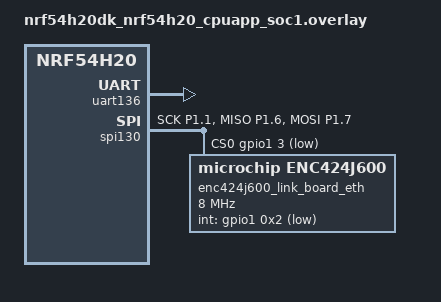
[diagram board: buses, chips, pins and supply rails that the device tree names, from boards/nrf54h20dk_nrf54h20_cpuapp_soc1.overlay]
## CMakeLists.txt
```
#
# Copyright (c) 2023 Nordic Semiconductor ASA
#
# SPDX-License-Identifier: LicenseRef-Nordic-5-Clause
#

cmake_minimum_required(VERSION 3.20.0)

if (BACKBONE_WIFI)
	set(EXTRA_CONF_FILE "configuration/nrf7002eb.conf")
	set(EXTRA_DTC_OVERLAY_FILE "configuration/nrf7002eb.overlay")
endif()

find_package(Zephyr REQUIRED HINTS $ENV{ZEPHYR_BASE})
project(thread_border_router)

set(OPENTHREAD_DIR ${PROJECT_SOURCE_DIR}/../../../modules/lib/openthread)

target_include_directories(app PRIVATE
	src
	${ZEPHYR_BASE}/subsys/net/ip
	${OPENTHREAD_DIR}/src/core
)

# These configurations are required in order to inject our own implementation of
# OpenThread's API function `otIp6Send()`
zephyr_ld_options("-Wl,--wrap=otIp6Send")
set (CMAKE_CXX_FLAGS
	"-DOPENTHREAD_PROJECT_CORE_CONFIG_FILE=\\\"openthread-core-zephyr-config.h\\\""
	${CMAKE_CXX_FLAGS})

add_subdirectory(src/net)

target_sources(app PRIVATE
	src/border_agent.c
	src/main.c
	src/tbr.c
	src/shell.c
	src/api_extensions/ip6_ext.cpp
	src/backbone/mcast_routing.c
	src/backbone/backbone_agent.c
	src/backbone/nd_proxy.c
	src/platform/infra_if.c
	src/platform/udp.c
	src/utils/utils.c
)
```

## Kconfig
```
#
# Copyright (c) 2023 Nordic Semiconductor
#
# SPDX-License-Identifier: LicenseRef-Nordic-5-Clause
#

DT_COMPAT_NORDIC_NRF700X_SPI := nordic,nrf700x-spi

menuconfig NRF_TBR
    bool "nRF Thread Border Router"
    imply NEWLIB_LIBC_NANO
    imply ENTROPY_GENERATOR
    imply NETWORKING
    imply NET_IPV6
    imply NET_IPV4
    imply NET_UDP
    imply NET_TCP
    imply NET_IPV6_NBR_CACHE
    imply NET_IPV6_DAD
    imply NET_ROUTING
    imply NET_DHCPV4
    imply NET_DHCPV6
    imply NET_SOCKETS
    imply NET_IPV6_MLD
    imply NET_IPV6_ND
    imply NET_IPV6_NBR_CACHE
    imply DNS_SD
    imply NET_IPV4_IGMP
    imply NET_PKT_FILTER # This should be removed after next upmerge
    imply NET_PKT_FILTER_IPV6_HOOK # This should be removed after next upmerge

menu "nRF Thread Border Router"

if NRF_TBR

config NRF_TBR_MDNS_PUBLISHER_RECORDS
    int "mDNS records"
    default 8
    help
      Number of mDNS records that can be allocated in runtime

config NRF_TBR_NRF_TBR_MDNS_PUBLISHER_MAX_TXT_LEN
    int "Max TXT record length"
    default 256
    help
      Maximum length of TXT record

config NRF_TBR_PRODUCT_NAME
    string "Product"
    default "tbr"
    help
      Defines the name of a product advertised by Thread Border Agent

config NRF_TBR_VENDOR_NAME
    string "Vendor"
    default "nordicsemi"
    help
      Defines the name of a vendor advertised by Thread Border Agent

config NRF_TBR_NAT64_PREFIX_DISCOVERY
    bool "Enable NAT64 prefix discovery"
    depends on OPENTHREAD_BORDER_ROUTER && OPENTHREAD_NAT64_BORDER_ROUTING
    help
      Enable NAT64 prefix discovery for nRF TBR

config NRF_TBR_MAX_UDP_DGRAM_SIZE
    int "UDP datagrams size limit"
    default 1280
    help
      Maximum size of UDP datagrams that can be sent using OpenThread's API

config NRF_TBR_ND_PROXY_ENTRY_COUNT
    int "ND Proxy table entries"
    default 8
    help
      Maximum number of addresses that can be handled by ND Proxy module

config NRF_TBR_MAX_BORDER_AGENT_AAAA_RECORDS
    int "Maximum number of Border Agent's AAAA records"
    default 4
    help
       Maximum number of AAAA records that can be allocated by Thread Border Agent

source "${ZEPHYR_BASE}/../nrf/applications/thread_border_router/Kconfig.defaults"

menu "Zephyr Kernel"
source "Kconfig.zephyr"
endmenu

module = NRF_TBR
module-str = nRF TBR
module-dep = LOG
module-help = Enables nRF TBR log messages.
source "${ZEPHYR_BASE}/subsys/logging/Kconfig.template.log_config"

rsource "src/net/Kconfig"

endif #NRF_TBR

endmenu
```

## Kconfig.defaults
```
#
# Copyright (c) 2023 Nordic Semiconductor ASA
#
# SPDX-License-Identifier: LicenseRef-Nordic-5-Clause
#

config NEWLIB_LIBC_NANO
    default n

config NET_L2_OPENTHREAD
    default y

config IEEE802154_NRF5_RX_STACK_SIZE
    default 1024

config NET_L2_ETHERNET
    default y

config OPENTHREAD_BORDER_ROUTER
    default y

config DNS_RESOLVER
    default n

config INIT_STACKS
    default y

config MAIN_STACK_SIZE
    default 4096

config SYSTEM_WORKQUEUE_STACK_SIZE
    default 2560

config DEVICE_SHELL
    default n

config DATE_SHELL
    default n

config GPIO_SHELL
    default n

config OPENTHREAD_BORDER_ROUTING
    default y

config OPENTHREAD_BACKBONE_ROUTER_MULTICAST_ROUTING
    default y

config OPENTHREAD_NETDATA_PUBLISHER
    default y

config OPENTHREAD_BORDER_AGENT
    default y

config OPENTHREAD_SLAAC
    default y

config OPENTHREAD_BACKBONE_ROUTER
    default y

config OPENTHREAD_ENABLE_SERVICE
    default y

config OPENTHREAD_BORDER_ROUTING_COUNTERS
    default y

config OPENTHREAD_DNS_CLIENT
    default y

config OPENTHREAD_MLR
    default y

config OPENTHREAD_PLATFORM_UDP
    default y

config OPENTHREAD_MESSAGE_BUFFER_SIZE
    default 256

config OPENTHREAD_DUA
    default y

config OPENTHREAD_BACKBONE_ROUTER_DUA_NDPROXYING
    default y

config OPENTHREAD_NAT64_TRANSLATOR
    default y

config OPENTHREAD_NAT64_BORDER_ROUTING
    default y

config OPENTHREAD_TCP_ENABLE
    default y

config OPENTHREAD_COAP
    default y

config OPENTHREAD_COAPS
    default y

config OPENTHREAD_COMMISSIONER
    default y

config OPENTHREAD_DIAG
    default y

config OPENTHREAD_DHCP6_SERVER
    default y

config OPENTHREAD_DHCP6_CLIENT
    default y

config OPENTHREAD_ECDSA
    default y

config OPENTHREAD_IP6_FRAGM
    default y

config OPENTHREAD_JAM_DETECTION
    default y

config OPENTHREAD_JOINER
    default y

config OPENTHREAD_RAW
    default y

config OPENTHREAD_MAC_FILTER
    default y

config OPENTHREAD_NETDIAG_CLIENT
    default y

config OPENTHREAD_ENABLE_SERVICE
    default y

config OPENTHREAD_SNTP_CLIENT
    default y

config OPENTHREAD_SRP_CLIENT
    default y

config OPENTHREAD_LINK_METRICS_INITIATOR
    default y

config OPENTHREAD_LINK_METRICS_SUBJECT
    default y

config OPENTHREAD_EXTERNAL_HEAP
    default y

config OPENTHREAD_SRP_SERVER
    default y

config OPENTHREAD_MANUAL_START
    default n

config NRF_TBR_NAT64_PREFIX_DISCOVERY
    default y

config NRF_TBR_ROUTE_IPV4
    default y

config NRF_TBR_NAT
    default y

config NET_IPV4_IGMP
    default n

config NET_MAX_CONN
    default 12

config NRF7002_ON_SPI
    def_bool $(dt_compat_enabled,$(DT_COMPAT_NORDIC_NRF700X_SPI))
    depends on WIFI_NRF700X

config NRF_WIFI_LOW_POWER
    default n
```

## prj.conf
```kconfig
#
# Copyright (c) 2023 Nordic Semiconductor ASA
#
# SPDX-License-Identifier: LicenseRef-Nordic-5-Clause
#

CONFIG_NRF_TBR=y

# System settings
CONFIG_FPU=n

# Networking
CONFIG_NET_CONFIG_SETTINGS=y
CONFIG_NET_CONFIG_MY_IPV4_ADDR="192.0.2.1"
CONFIG_NET_CONFIG_MY_IPV6_ADDR="2001:db8::1"
CONFIG_NET_CONFIG_PEER_IPV6_ADDR="2001:db8::2"
CONFIG_NET_IF_MAX_IPV4_COUNT=4
CONFIG_NET_IF_MCAST_IPV4_ADDR_COUNT=4
CONFIG_NET_IF_MAX_IPV6_COUNT=16
CONFIG_NET_IF_IPV6_PREFIX_COUNT=6
CONFIG_NET_IF_UNICAST_IPV6_ADDR_COUNT=7
CONFIG_NET_IF_MCAST_IPV6_ADDR_COUNT=16
CONFIG_NET_MGMT_EVENT_QUEUE_SIZE=16
CONFIG_NET_DEFAULT_IF_ETHERNET=y
CONFIG_NET_MGMT_EVENT_INFO=y
CONFIG_NET_CONFIG_AUTO_INIT=n
CONFIG_NET_ROUTE_MCAST=y
CONFIG_NET_MAX_MCAST_ROUTES=8
CONFIG_NET_MAX_CONTEXTS=10

# Memories
CONFIG_NET_TX_STACK_SIZE=4096
CONFIG_NET_RX_STACK_SIZE=4096

# Debugging
CONFIG_DEBUG=y
CONFIG_STACK_SENTINEL=y
CONFIG_DEBUG_COREDUMP=y
CONFIG_DEBUG_COREDUMP_BACKEND_LOGGING=y
CONFIG_DEBUG_COREDUMP_MEMORY_DUMP_MIN=y

# Enable asserts
CONFIG_ASSERT=y
CONFIG_ASSERT_NO_COND_INFO=y
CONFIG_ASSERT_NO_FILE_INFO=y

# Logging
CONFIG_LOG=y
CONFIG_NET_LOG=y
CONFIG_LOG_BUFFER_SIZE=4096
CONFIG_LOG_MODE_MINIMAL=n
CONFIG_LOG_MODE_DEFERRED=y
CONFIG_OPENTHREAD_L2_LOG_LEVEL_DBG=y
CONFIG_NRF_TBR_LOG_LEVEL_DBG=y
CONFIG_DNS_SD_LOG_LEVEL_ERR=y # DNS-SD provides a lot false positive warnings

# Shells
CONFIG_SHELL=y
CONFIG_NET_SHELL=y
CONFIG_OPENTHREAD_SHELL=y
CONFIG_SHELL_CMDS_RESIZE=n
CONFIG_SHELL_TAB_AUTOCOMPLETION=n

CONFIG_SIZE_OPTIMIZATIONS=y
```

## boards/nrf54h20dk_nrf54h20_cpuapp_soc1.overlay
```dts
/*
 * Copyright (c) 2023 Nordic Semiconductor ASA
 *
 * SPDX-License-Identifier: LicenseRef-Nordic-5-Clause
 */
#include <zephyr/dt-bindings/ipc_service/static_vrings.h>
#include <arm/nordic_nrf_next/overlays/serial_cpuapp.overlay>

/{
	chosen {
		zephyr,console = &uart136;
		zephyr,shell-uart = &uart136;
	};
};

/delete-node/ &ppr_code_partition;

&mram0 {
    reg = <0xe0a6000 DT_SIZE_K(1040)>;
    partitions {
        compatible = "fixed-partitions";
        #address-cells = < 0x1 >;
        #size-cells = < 0x1 >;
        slot0_partition: partition@a6000 {
            label = "image-0";
            reg = < 0xa6000 DT_SIZE_K(1040) >;
        };
    };
};

&cpuapp_ram0x_s {
	reg = < 0x0 DT_SIZE_K(512) >;
	ranges = < 0x0 0x0 DT_SIZE_K(512) >;
};

/* Remove the dfu_partition */
/delete-node/ &mram1;
&mram_controller {
	mram1: mram@e1df000 {
		compatible = "nordic,allocatable-mram", "soc-nv-flash";
		reg = <0xe1df000 DT_SIZE_K(24)>;
		erase-block-size = <4096>;
		write-block-size = <1>;
		perm-read;
		perm-write;
		partitions {
			compatible = "fixed-partitions";
			#address-cells = <1>;
			#size-cells = <1>;
			storage_partition: partition@1df000 {
				label = "storage";
				reg = <0x1df000 DT_SIZE_K(24)>;
			};
		};
	};
};

/* ram3x_cpuapp buffer is used by App core UART driver. */
&ram3x_cpuapp {
	status = "okay";
};

&cpuapp_sram0x {
	reg = <0x1000 DT_SIZE_K(512)>;
};

&uart136 {
	status = "okay";
	memory-regions = <&ram3x_cpuapp>;
};

&pinctrl {
	spi130_default: spi130_default {
		group1 {
			psels = <NRF_PSEL(SPIM_SCK, 1, 1)>,
			        <NRF_PSEL(SPIM_MISO, 1, 6)>,
			        <NRF_PSEL(SPIM_MOSI, 1, 7)>;
		};
	};

	spi130_sleep: spi130_sleep {
		group1 {
			psels = <NRF_PSEL(SPIM_SCK, 1, 1)>,
			        <NRF_PSEL(SPIM_MISO, 1, 6)>,
			        <NRF_PSEL(SPIM_MOSI, 1, 7)>;
			low-power-enable;
		};
	};
};

&spi130 {
	cs-gpios = <&gpio1 3 GPIO_ACTIVE_LOW>;
	status = "okay";
	pinctrl-0 = <&spi130_default>;
	pinctrl-1 = <&spi130_sleep>;
	pinctrl-names = "default", "sleep";
	memory-regions = <&ram3x_cpuapp>;

	enc424j600_link_board_eth: enc424j600@0 {
		compatible = "microchip,enc424j600";
		spi-max-frequency = <DT_FREQ_M(8)>;
		int-gpios = <&gpio1 0x2 0x1>;
		status = "okay";
		reg = <0x0>;
	};
};

&gpio1 {
	status = "okay";
};

ipc0: &ipc_cpurad {};
```

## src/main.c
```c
/*
 * Copyright (c) 2023 Nordic Semiconductor ASA
 *
 * SPDX-License-Identifier: LicenseRef-Nordic-5-Clause
 */

/** @file
 * @brief nRF Thread Border Router's main function
 */

#include "border_agent.h"
#include "tbr.h"
#include "backbone/backbone_agent.h"
#include "platform/infra_if.h"
#include "net/mdns_server.h"
#include "net/dns_sd.h"

#include <ipv6.h>

#include <openthread/border_routing.h>
#include <openthread/backbone_router_ftd.h>
#include <openthread/thread.h>
#include <openthread/platform/infra_if.h>
#include <openthread/srp_server.h>
#include <openthread/nat64.h>

#include <zephyr/sys/printk.h>
#include <zephyr/device.h>
#include <zephyr/net/net_config.h>
#include <zephyr/net/net_pkt_filter.h>
#include <zephyr/net/openthread.h>

#if defined(CONFIG_WIFI_NRF700X)
#include <zephyr/net/wifi_mgmt.h>
#include <net/wifi_mgmt_ext.h>
#endif /* CONFIG_WIFI_NRF700X */

LOG_MODULE_REGISTER(nrf_tbr, CONFIG_NRF_TBR_LOG_LEVEL);

#define WIFI_MGMT_EVENTS (NET_EVENT_WIFI_CONNECT_RESULT)

#define SUBSCRIBED_NET_EVENTS NET_EVENT_IPV6_DAD_SUCCEED | NET_EVENT_IPV6_ADDR_ADD | \
			      NET_EVENT_IPV6_ADDR_DEL

#define MAC_IPV6_MCAST_BYTE0 0x33
#define MAC_IPV6_MCAST_BYTE1 0x33

K_SEM_DEFINE(ll_addr_wait, 0, 1);
K_SEM_DEFINE(run_app, 0, 1);

static struct net_mgmt_event_callback net_event_cb;
static struct tbr_context *context;

#if defined(CONFIG_WIFI_NRF700X)
static struct net_mgmt_event_callback wifi_mgmt_cb;

struct ipv6_input_test {
	struct npf_test test;
};

static bool filter_mcast_loopback(struct npf_test *test, struct net_pkt *pkt);

struct ipv6_input_test mcast_loopback_test = {
	.test.fn = filter_mcast_loopback,
};

static NPF_RULE(filter_mcast_loopback_rule, NET_OK, mcast_loopback_test);

static inline bool is_mac_addr_ipv6_mcast(struct net_eth_addr *address)
{
	return address->addr[0] == MAC_IPV6_MCAST_BYTE0 && address->addr[1] == MAC_IPV6_MCAST_BYTE1;
}

static void handle_wifi_connect_result(struct net_mgmt_event_callback *cb)
{
	const struct wifi_status *status =
		(const struct wifi_status *) cb->info;

	if (status->status) {
		LOG_ERR("Backbone link connection request failed (%d)", status->status);
	} else {
		LOG_INF("Backbone link connected");
		k_sem_give(&run_app);
	}
}

static void wifi_mgmt_event_handler(struct net_mgmt_event_callback *cb,
				    uint32_t mgmt_event, struct net_if *iface)
{
	ARG_UNUSED(iface);

	switch (mgmt_event) {
	case NET_EVENT_WIFI_CONNECT_RESULT:
		handle_wifi_connect_result(cb);
		break;
	default:
		break;
	}
}

static bool filter_mcast_loopback(struct npf_test *test, struct net_pkt *pkt)
{
	ARG_UNUSED(test);

	struct net_eth_hdr *hdr;
	struct net_linkaddr *backbone_mac_addr;

	if (!context->backbone_iface || pkt->iface != context->backbone_iface) {
		return true;
	}

	hdr = NET_ETH_HDR(pkt);
	if (!hdr) {
		LOG_WRN("Multicast loopback filter - failed to read the header");
		return false;
	}

	backbone_mac_addr = net_if_get_link_addr(context->backbone_iface);

	/* Eliminate a multicast loop by filtering out frames with a source MAC addresses
	 * within IPv6 multicast range sent back by the backbone interface (with its
	 * source address).
	 */
	return !is_mac_addr_ipv6_mcast(&hdr->dst) || memcmp(backbone_mac_addr->addr, &hdr->src,
							    sizeof(hdr->src));
}

#endif /* defined(CONFIG_WIFI_NRF700X) */

static inline void handle_dad_succeed(void)
{
	struct in6_addr *addr = net_if_ipv6_get_ll(context->backbone_iface, NET_ADDR_PREFERRED);

	if (addr) {
		LOG_DBG("IPv6 Link-Local address ready");
		context->ll_addr = addr;
		k_sem_give(&ll_addr_wait);
	}
}

static void net_ev_cb_handler(struct net_mgmt_event_callback *cb,
			      uint32_t mgmt_event, struct net_if *iface)
{
	if (context->backbone_iface == iface) {
		switch(mgmt_event) {
		case NET_EVENT_IPV6_DAD_SUCCEED:
			handle_dad_succeed();
			break;
		case NET_EVENT_IPV6_ADDR_ADD:
			border_agent_handle_address_event((const struct in6_addr *)cb->info, true);
			break;
		case NET_EVENT_IPV6_ADDR_DEL:
			border_agent_handle_address_event((const struct in6_addr *)cb->info, false);
			break;
		default:
			break;
		}
	}
}

static bool join_all_routers_group(struct net_if *iface)
{
	struct in6_addr all_routers_addr;
	int ret;

	k_sem_take(&ll_addr_wait, K_FOREVER);
	net_mgmt_del_event_callback(&net_event_cb);

	net_ipv6_addr_create_ll_allrouters_mcast(&all_routers_addr);

	ret = net_ipv6_mld_join(iface, &all_routers_addr);
	if (ret < 0 && ret != -EALREADY) {
		LOG_ERR("Cannot join all-routers group (%d)", ret);
		return false;
	}

	return true;
}

static int init_backbone_iface(void)
{
	const struct device *backbone_device;

#if defined(CONFIG_WIFI_NRF700X)

	/* Wait for WiFi connection */
	net_mgmt_init_event_callback(&wifi_mgmt_cb,
				     wifi_mgmt_event_handler,
				     WIFI_MGMT_EVENTS);
	net_mgmt_add_event_callback(&wifi_mgmt_cb);

	npf_insert_recv_rule(&filter_mcast_loopback_rule);

	backbone_device = device_get_binding("wlan0");

#else
	backbone_device = DEVICE_DT_GET(DT_NODELABEL(enc424j600_link_board_eth));
	k_sem_give(&run_app);
#endif

	if (!device_is_ready(backbone_device)) {
		LOG_ERR("Backbone device not ready.");
		return EXIT_FAILURE;
	}

	LOG_INF("Backbone link device: %s", backbone_device->name);
	context->backbone_iface = net_if_lookup_by_dev(backbone_device);

	if (!context->backbone_iface) {
		LOG_ERR("No backbone interface");
		return EXIT_FAILURE;
	}

	net_config_init_app(net_if_get_device(context->backbone_iface),
			    "Initializing backbone interface");

	return EXIT_SUCCESS;
}

static int init_application(void)
{
#ifdef CLOCK_FEATURE_HFCLK_DIVIDE_PRESENT
	/* For now hardcode to 128MHz */
	nrfx_clock_divider_set(NRF_CLOCK_DOMAIN_HFCLK,
			       NRF_CLOCK_HFCLK_DIV_1);
#endif

	context = tbr_get_context();
	context->ll_addr = NULL;
	context->ot = openthread_get_default_context();

	infra_if_init();
	mdns_server_init();
	dns_sd_init();
	border_agent_init();
	backbone_agent_init();

	net_mgmt_init_event_callback(&net_event_cb, net_ev_cb_handler, SUBSCRIBED_NET_EVENTS);
	net_mgmt_add_event_callback(&net_event_cb);

	return init_backbone_iface();
}

static void routing_set_enabled(struct otInstance *instance, bool enabled)
{
	NET_DBG("%s border routing", enabled ? "Enabling" : "Disabling");
	otBorderRoutingSetEnabled(instance, enabled);

	NET_DBG("%s backbone router", enabled ? "Enabling" : "Disabling");
	otBackboneRouterSetEnabled(instance, enabled);
}

static void handle_role_change(struct otInstance *instance, otChangedFlags flags)
{
	switch (otThreadGetDeviceRole(instance)) {
	case OT_DEVICE_ROLE_CHILD:
	case OT_DEVICE_ROLE_ROUTER:
	case OT_DEVICE_ROLE_LEADER:
		if (otBorderRoutingGetState(instance) ==
		    OT_BORDER_ROUTING_STATE_UNINITIALIZED) {
			otBorderRoutingInit(instance,
					    net_if_get_by_iface(context->backbone_iface),
					    context->ll_addr != NULL);
		}
		routing_set_enabled(instance, true);
		break;

	case OT_DEVICE_ROLE_DISABLED:
	case OT_DEVICE_ROLE_DETACHED:
	default:
		routing_set_enabled(instance, false);
		break;
	}
}

static void on_thread_state_changed(otChangedFlags flags, struct openthread_context *ot_context,
				    void *user_data)
{
	ARG_UNUSED(user_data);

	if (flags & OT_CHANGED_THREAD_ROLE) {
		handle_role_change(ot_context->instance, flags);
	}

	if (flags & OT_CHANGED_THREAD_NETDATA) {
		infra_if_handle_netdata_change();
	}
}

static struct openthread_state_changed_cb ot_state_chaged_cb = { .state_changed_cb =
									 on_thread_state_changed };

int main(void)
{
	int err;
	struct mdns_server_listener_config mdns_config = { 0 };

#if defined(CONFIG_WIFI_NRF700X)
	/* Add temporary fix to prevent using Wi-Fi before WPA supplicant is ready. */
	k_sleep(K_SECONDS(1));

	err = net_mgmt(NET_REQUEST_WIFI_CONNECT_STORED, net_if_get_default(), NULL, 0);

	if (err) {
		LOG_ERR("Connecting to Wi-Fi failed. error: %d", err);
	}

#endif /* CONFIG_WIFI_NRF700X */

	k_sem_take(&run_app, K_FOREVER);

	openthread_state_changed_cb_register(context->ot, &ot_state_chaged_cb);

	if (!context->backbone_iface) {
		LOG_ERR("Backbone link interface uninitialized");
		return EXIT_FAILURE;
	}

	if (!join_all_routers_group(context->backbone_iface)) {
		return false;
	}

	/* Router solicitation can be sent before connection is alive, send it
	 * explicitly after link is set up.
	 */
	net_ipv6_send_rs(context->backbone_iface);

	otPlatInfraIfStateChanged(context->ot->instance,
				  net_if_get_by_iface(context->backbone_iface),
				  true);

	mdns_config.iface = context->backbone_iface;
	mdns_config.setup_ipv6 = true;
	mdns_config.setup_ipv4 = true;

	err = mdns_server_listener_start(&mdns_config);

	if (err) {
		LOG_ERR("Failed to start mDNS sever: %d", err);
	}

	border_agent_start();

	/* Let Border Routing Manager controls when SRP server
	 * should be enabled or disabled.
	 */
	otSrpServerSetAutoEnableMode(context->ot->instance, true);

	otNat64SetEnabled(context->ot->instance, true);

	return EXIT_SUCCESS;
}

/* As we cannot use NET_CONFIG_AUTO_INIT option (it would pick OpenThread as the
 * main interface. We need to call net_config_init_app() before mdns_responder
 * modules gets initialized.
 */
SYS_INIT(init_application, APPLICATION, CONFIG_APPLICATION_INIT_PRIORITY);
```

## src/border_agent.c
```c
/*
 * Copyright (c) 2023 Nordic Semiconductor ASA
 *
 * SPDX-License-Identifier: LicenseRef-Nordic-5-Clause
 */

/** @file
 * @brief nRF Thread Border Router's Border Agent's functions
 */

#include <string.h>

#include <openthread/border_agent.h>
#include <openthread/border_routing.h>
#include <openthread/backbone_router_ftd.h>
#include <openthread/thread.h>

#include <zephyr/net/net_config.h>
#include <zephyr/net/openthread.h>
#include <zephyr/net/socket.h>
#include <zephyr/sys/byteorder.h>

#include "backbone/backbone_agent.h"
#include "net/dns_sd.h"
#include "tbr.h"

LOG_MODULE_DECLARE(nrf_tbr, CONFIG_NRF_TBR_LOG_LEVEL);

#define TXT_BUFFER_SIZE 255

#define UPDATE_MESHCOP_FLAGS OT_CHANGED_THREAD_ROLE \
	| OT_CHANGED_THREAD_EXT_PANID		    \
	| OT_CHANGED_THREAD_NETWORK_NAME	    \
	| OT_CHANGED_THREAD_BACKBONE_ROUTER_STATE   \
	| OT_CHANGED_THREAD_NETDATA

#define BA_VENDOR_NAME  CONFIG_NRF_TBR_VENDOR_NAME
#define BA_PRODUCT_NAME CONFIG_NRF_TBR_PRODUCT_NAME
#define BA_SERVICE      "_meshcop"
#define BA_SERVICE_TTL  120
#define BA_DUMMY_PORT   0

#define BA_INSTANCE_NAME BA_VENDOR_NAME "-" BA_PRODUCT_NAME

#define BA_AAAA_RECORD_NAME BA_INSTANCE_NAME ".local"
#define BA_MAX_AAAA_RECORDS CONFIG_NRF_TBR_MAX_BORDER_AGENT_AAAA_RECORDS

#define OT_THREAD_VERSION_1_1 2
#define OT_THREAD_VERSION_1_2 3
#define OT_THREAD_VERSION_1_3 4

#define OT_INSTANCE openthread_get_default_instance()

#define TIMESTAMP_TICKS_POS     1
#define TIMESTAMP_SEC_POS       16

#define ACCESS_TIMEOUT 500

/* For ot-br-posix compatibility:
 *   -----------------------------------
 *   | bits  | flag                    |
 *   |---------------------------------|
 *   | 0 - 2 | connection mode         |
 *   | 3 - 4 | thread interface status |
 *   | 5 - 6 | availability            |
 *   |   7   | is BBR active           |
 *   |   8   | is BBR primary          |
 *   -----------------------------------
 */
#define CONNECTION_MODE_POS     0
#define IFACE_STATUS_POS        3
#define AVAILABILITY_POS        5
#define BBR_ACTIVE_POS          7
#define BBR_PRIMARY_POS         8

#define FLAG_SET_CONNECTION_MODE(_f, _m)     (_f |= ((_m & BIT_MASK(3)) << CONNECTION_MODE_POS))
#define FLAG_SET_IFACE_STATUS(_f, _s)        (_f |= ((_s & BIT_MASK(2)) << IFACE_STATUS_POS))
#define FLAG_SET_AVAILABILITY(_f, _a)        (_f |= ((_a & BIT_MASK(2)) << AVAILABILITY_POS))

typedef int (*value_encoder)(char *, size_t);

struct tbr_address_info {
	const struct in6_addr *address;
	struct mdns_record_handle *record;
};

static struct tbr_address_info addr_infos[BA_MAX_AAAA_RECORDS];
static size_t addr_info_count;

K_MUTEX_DEFINE(ba_mutex);

static struct dns_sd_service_handle *ba_service;

enum {
	CONNECTION_MODE_DISABLED        = 0,
	CONNECTION_MODE_PSKC            = 1,
	CONNECTION_MODE_PSKD            = 2,
	CONNECTION_MODE_VENDOR          = 3,
	CONNECTION_MODE_X509            = 4,
};

enum {
	INTERFACE_STATUS_NOT_INITIALIZED        = 0,
	INTERFACE_STATUS_INITIALIZED            = 1,
	INTERFACE_STATUS_ACTIVE                 = 2,
};

enum {
	AVAILABILITY_INFREQUENT = 0,
	AVAILABILITY_HIGH       = 1
};

static int encode_value(char *buffer, size_t max, const char *key,
			size_t key_len, const char *value, size_t value_len)
{
	int encoded_bytes = 0;
	uint8_t to_encode = key_len + value_len + 1;

	/* len + key + '=' + value */
	if (to_encode + 1 > max) {
		return -ENOBUFS;
	}

	memcpy(&buffer[encoded_bytes], &to_encode, sizeof(to_encode));
	encoded_bytes += sizeof(to_encode);

	memcpy(&buffer[encoded_bytes], key, key_len);
	encoded_bytes += key_len;

	memcpy(&buffer[encoded_bytes], "=", 1);
	encoded_bytes += 1;

	memcpy(&buffer[encoded_bytes], value, value_len);
	encoded_bytes += value_len;

	return encoded_bytes;
}

static int encode_vendor_name(char *buffer, size_t max)
{
	return encode_value(buffer, max, "vn", sizeof("vn") - 1, BA_VENDOR_NAME,
			    sizeof(BA_VENDOR_NAME) - 1);
}

static int encode_product_name(char *buffer, size_t max)
{
	return encode_value(buffer, max, "mn", sizeof("mn") - 1, BA_PRODUCT_NAME,
			    sizeof(BA_PRODUCT_NAME) - 1);
}

static int encode_network_name(char *buffer, size_t max)
{
	const char *nn = otThreadGetNetworkName(OT_INSTANCE);

	return encode_value(buffer, max, "nn", sizeof("nn") - 1, nn, strlen(nn));
}

static int encode_ext_pan_id(char *buffer, size_t max)
{
	const otExtendedPanId *extPanId = otThreadGetExtendedPanId(OT_INSTANCE);

	return encode_value(buffer, max, "xp", sizeof("xp") - 1, extPanId->m8,
			    sizeof(extPanId->m8));
}

static int encode_thread_version(char *buffer, size_t max)
{
	const char *version = "invalid";

	switch (otThreadGetVersion()) {
	case OT_THREAD_VERSION_1_1:
		version = "1.1.1";
		break;
	case OT_THREAD_VERSION_1_2:
		version = "1.2.0";
		break;
	case OT_THREAD_VERSION_1_3:
		version = "1.3.0";
		break;
	}

	return encode_value(buffer, max, "tv", sizeof("tv") - 1, version,
			    strlen(version));
}

static int encode_ext_address(char *buffer, size_t max)
{
	const otExtAddress *extAddr = otLinkGetExtendedAddress(OT_INSTANCE);

	return encode_value(buffer, max, "xa", sizeof("xa") - 1, extAddr->m8,
			    sizeof(extAddr->m8));
}

static int encode_state(char *buffer, size_t max)
{
	uint32_t flags = 0;
	int if_status;
	otBackboneRouterState bbr_state = otBackboneRouterGetState(OT_INSTANCE);

	switch (otThreadGetDeviceRole(OT_INSTANCE)) {
	case OT_DEVICE_ROLE_DISABLED:
		if_status = INTERFACE_STATUS_NOT_INITIALIZED;
		break;
	case OT_DEVICE_ROLE_DETACHED:
		if_status = INTERFACE_STATUS_INITIALIZED;
		break;
	default:
		if_status = INTERFACE_STATUS_ACTIVE;
	}

	FLAG_SET_CONNECTION_MODE(flags, CONNECTION_MODE_PSKC);
	FLAG_SET_IFACE_STATUS(flags, if_status);
	FLAG_SET_AVAILABILITY(flags, AVAILABILITY_HIGH);

	flags |= (if_status == INTERFACE_STATUS_ACTIVE &&
		  bbr_state != OT_BACKBONE_ROUTER_STATE_DISABLED) << BBR_ACTIVE_POS;
	flags |= (if_status == INTERFACE_STATUS_ACTIVE &&
		  bbr_state == OT_BACKBONE_ROUTER_STATE_PRIMARY) << BBR_PRIMARY_POS;

	flags = sys_cpu_to_be32(flags);

	return encode_value(buffer, max, "sb", sizeof("sb") - 1,
			    (const char *)&flags, sizeof(flags));
}

static int encode_active_timestamp(char *buffer, size_t max)
{
	otOperationalDataset dataset;
	uint64_t active_ts;

	if ((otDatasetGetActive(OT_INSTANCE, &dataset)) != OT_ERROR_NONE) {
		return 0;
	}

	/* 64 bits Timestamp fields layout
	 * -----48 bits------//-----15 bits-----//-------1 bit-------//
	 *      Seconds      //      Ticks      //  Authoritative    //
	 */
	active_ts = (dataset.mActiveTimestamp.mSeconds << TIMESTAMP_SEC_POS) |
		    (uint64_t)(dataset.mActiveTimestamp.mTicks << TIMESTAMP_TICKS_POS) |
		    (uint64_t)(dataset.mActiveTimestamp.mAuthoritative);

	active_ts = sys_cpu_to_be64(active_ts);

	return encode_value(buffer, max, "at", sizeof("at") - 1, (char *)&active_ts,
			    sizeof(active_ts));
}

static int encode_bbr_entries(char *buffer, size_t max)
{
	int res;
	int encoded = 0;
	otBackboneRouterConfig config;
	const char *name;
	size_t val_len;
	uint16_t port = htons(TBR_BACKBONE_AGENT_BBR_PORT);
	otBackboneRouterState state = otBackboneRouterGetState(OT_INSTANCE);

	if (state != OT_BACKBONE_ROUTER_STATE_DISABLED) {
		otBackboneRouterGetConfig(OT_INSTANCE, &config);

		res = encode_value(buffer, max, "sq", sizeof("sq") - 1,
				   (char *)&config.mSequenceNumber,
				   sizeof(config.mSequenceNumber));
		if (res < 0) {
			return res;
		}

		encoded += res;
		max -= res;

		res = encode_value(buffer, max, "bb", sizeof("bb") - 1,
				   (char *)&port, sizeof(port));

		if (res < 0) {
			return res;
		}

		encoded += res;
		max -= res;
	}

	name = otThreadGetDomainName(OT_INSTANCE);

	val_len = strlen(name);
	val_len = (val_len > 0) ? val_len - 1 : val_len;

	res = encode_value(buffer, max, "dn", sizeof("dn") - 1, name, val_len);

	if (res < 0) {
		return res;
	}

	return encoded + res;
}

static int encode_omr_entry(char *buffer, size_t max)
{
	otIp6Prefix omrPrefix;
	otRoutePreference preference;
	otError error;
	char prefix[OT_IP6_PREFIX_SIZE + 1];

	error = otBorderRoutingGetFavoredOmrPrefix(OT_INSTANCE, &omrPrefix, &preference);

	if (error != OT_ERROR_NONE) {
		return 0;
	}

	prefix[0] = omrPrefix.mLength;
	memcpy(&prefix[1], omrPrefix.mPrefix.mFields.m8, (omrPrefix.mLength + 7) / 8);

	return encode_value(buffer, max, "omr", sizeof("omr") - 1, prefix, sizeof(prefix));
}

static void update_meshcop_service()
{
	char buff[TXT_BUFFER_SIZE];
	int n = 0;
	int res = 0;
	struct dns_sd_service_info_in service_info;

	/* There are no backbone IPv6 addresses to be advertised */
	if (addr_info_count == 0) {
		return;
	}

	memset(&service_info, 0, sizeof(struct dns_sd_service_info_in));

	if (ba_service) {
		dns_sd_service_unpublish(ba_service, K_FOREVER);
	}

	/* encode elements: */
	value_encoder encoders[] = {
		encode_vendor_name,
		encode_product_name,
		encode_network_name,
		encode_ext_pan_id,
		encode_thread_version,
		encode_ext_address,
		encode_state,
		encode_active_timestamp,
		encode_bbr_entries,
		encode_omr_entry,
		NULL,
	};

	for (size_t i = 0; encoders[i] != NULL; ++i) {
		res = encoders[i](&buff[n], sizeof(buff) - n);
		if (res < 0) {
			LOG_ERR("Failed to encode TXT record, encoder: %p", &encoders[i]);
			return;
		}

		n += res;
	}

	service_info.ttl = BA_SERVICE_TTL;
	service_info.instance = BA_INSTANCE_NAME;
	service_info.service = BA_SERVICE;
	service_info.subtype = NULL;
	service_info.proto = DNS_SD_SERVICE_PROTO_UDP;
	service_info.weight = 0;
	service_info.priority = 0;
	service_info.port = BA_DUMMY_PORT;
	service_info.txt_data = buff;
	service_info.txt_data_len = n;
	service_info.target = addr_infos[0].record;

	/* When Thread interface is disabled we keep using dummy port so service
	 * status can be advertised
	 */
	if (otBorderAgentGetState(OT_INSTANCE) != OT_BORDER_AGENT_STATE_STOPPED) {
		service_info.port = otBorderAgentGetUdpPort(OT_INSTANCE);
	}

	if (dns_sd_service_publish(&service_info, K_FOREVER, &ba_service) < 0) {
		LOG_ERR("Failed to publish Border Agent service");
	}
}

static struct tbr_address_info *find_address_info(const struct in6_addr *addr)
{
	struct in6_addr rec_addr;

	for (int i = 0; i < addr_info_count; ++i) {
		if (mdns_record_get_rdata_aaaa(addr_infos[i].record, &rec_addr, K_FOREVER) < 0) {
			LOG_WRN("Failed to read mDNS record info");

			return NULL;
		}

		if (memcmp(addr, &rec_addr, sizeof(struct in6_addr)) == 0) {
			return &addr_infos[i];
		}
	}

	return NULL;
}

static void add_address_info(const struct in6_addr *addr)
{
	struct tbr_address_info *info;
	int err;
	char addr_str[INET6_ADDRSTRLEN];

	if (addr_info_count == BA_MAX_AAAA_RECORDS) {
		LOG_WRN("Reached maximum number of the records");
		return;
	}

	info = &addr_infos[addr_info_count];
	info->address = addr;

	err = mdns_record_add_aaaa(BA_AAAA_RECORD_NAME, sizeof(BA_AAAA_RECORD_NAME) - 1,
				   BA_SERVICE_TTL, addr, K_FOREVER, &info->record);

	inet_ntop(AF_INET6, addr, addr_str, sizeof(addr_str));

	if (err < 0) {
		LOG_DBG("Failed to allocate mDNS record for addr: %s, err: %d", addr_str, err);
		return;
	}

	LOG_DBG("Added AAAA record for addr: %s (%p)", addr_str, addr);

	if (addr_info_count > 0) {
		mdns_link_records(addr_infos[addr_info_count - 1].record, info->record, K_FOREVER);
	}

	addr_info_count++;
}

static void remove_address_info(struct tbr_address_info *info)
{
	int res;

	res = mdns_record_remove(info->record, K_FOREVER);

	/* If we cannot remove the record with K_FOREVER we are facing something really bad */
	__ASSERT(res == 0, "Failed to remove mDNS record");

	/* If there are any other address infos swap it with the last one */
	if (addr_info_count > 1) {
		memcpy(info, &addr_infos[addr_info_count], sizeof(struct tbr_address_info));
		memset(&addr_infos[addr_info_count], 0, sizeof(struct tbr_address_info));
	} else {
		memset(info, 0, sizeof(struct tbr_address_info));
	}

	addr_info_count--;
}

static void on_thread_state_changed(otChangedFlags flags, struct openthread_context *ot_context,
				    void *user_data)
{
	if (flags & (UPDATE_MESHCOP_FLAGS)) {
		update_meshcop_service();
	}
}

static struct openthread_state_changed_cb ot_state_chaged_cb = {
	.state_changed_cb = on_thread_state_changed
};

void border_agent_handle_address_event(const struct in6_addr *addr, bool is_added)
{
	struct tbr_address_info *info;

	if (net_ipv6_is_ll_addr(addr)) {
		/* Link-Local addresses are ignored */
		return;
	}

	k_mutex_lock(&ba_mutex, K_FOREVER);

	info = find_address_info(addr);

	if (!info && is_added) {
		add_address_info(addr);
	} else if (info && !is_added) {
		remove_address_info(info);
	}

	k_mutex_unlock(&ba_mutex);
}

void border_agent_init(void)
{
	addr_info_count = 0;
	ba_service = NULL;

	memset(addr_infos, 0, sizeof(addr_infos));
}

void border_agent_start(void)
{
	const struct tbr_context *ctx = tbr_get_context();
	struct net_if_addr *addresses = ctx->backbone_iface->config.ip.ipv6->unicast;

	for (int i = 0; i < NET_IF_MAX_IPV6_ADDR; ++i) {
		if (addresses[i].address.family == AF_INET6 &&
		    addresses[i].addr_state == NET_ADDR_PREFERRED && addresses[i].is_used) {
			border_agent_handle_address_event(&addresses[i].address.in6_addr, true);
		}
	}

	update_meshcop_service();
	openthread_state_changed_cb_register(openthread_get_default_context(), &ot_state_chaged_cb);

	LOG_INF("Border Agent started");
}
```

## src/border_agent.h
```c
/*
 * Copyright (c) 2023 Nordic Semiconductor ASA
 *
 * SPDX-License-Identifier: LicenseRef-Nordic-5-Clause
 */

/** @file
 * @brief nRF Thread Border Router's Border Agent's functions
 */

#include <stdbool.h>
#include <zephyr/net/net_ip.h>

#ifndef NRF_TBR_INCLUDE_BORDER_AGENT_H_
#define NRF_TBR_INCLUDE_BORDER_AGENT_H_

/**
 * @brief Initialize Border Agent
 *
 * Initialization of variables and data structures.
 */
void border_agent_init(void);

/**
 * @brief Start Border Agent
 *
 * Start Border Agent service publishes AAAA mDNS records for IPv6 addresses
 * reported with @ref border_agent_handle_address_event() and automatically
 * publishes the most current version of MeshCoP DNS-SD service.
 *
 * @note Border Agent must be first initialized with @ref border_agent_init().
 */
void border_agent_start(void);

/**
 * @brief Handle events related to IPv6 addreses
 *
 * This function keeps an internal list of AAAA mDNS records up to date by
 * allocating or freeing them based on network events.
 *
 * @param addr IPv6 address
 * @param is_added true if address was added, false if removed
 */
void border_agent_handle_address_event(const struct in6_addr *addr, bool is_added);

#endif /* NRF_TBR_INCLUDE_BORDER_AGENT_H_ */
```
